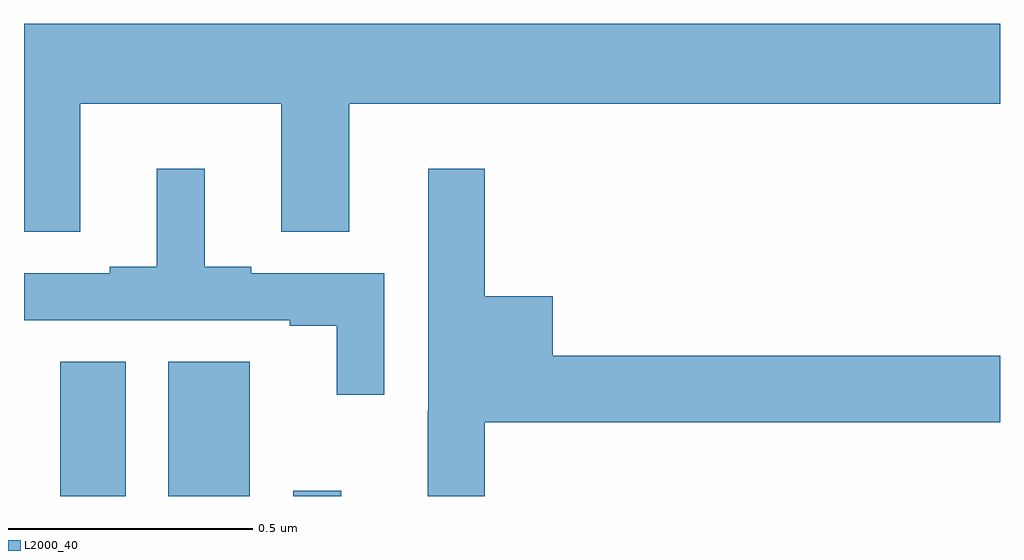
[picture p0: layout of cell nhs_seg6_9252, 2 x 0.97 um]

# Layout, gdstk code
import gdstk
lib = gdstk.Library(unit=1e-6, precision=1e-09)
def R(c, l, rs):  # rectangles x0, y0, x1, y1
    for r in rs: c.add(gdstk.rectangle(r[:2], r[2:], *l))
def P(c, l, *ps):  # polygons
    for p in ps: c.add(gdstk.Polygon(p, *l))
L2000_40 = (2000, 40)

nhs_seg6_9252 = lib.new_cell('nhs_seg6_9252')
R(nhs_seg6_9252, L2000_40, [(231.074,978.5,231.208,978.776), (231.296,978.5,231.463,978.776), (231.552,978.5,231.65,978.511)])
P(nhs_seg6_9252, L2000_40, [(231.115,979.304),(231.527,979.304),(231.527,979.042),(231.667,979.042),(231.667,979.304),(233,979.304),(233,979.468),(231,979.468),(231,979.042),(231.115,979.042)],
  [(231.944,978.652),(233,978.652),(233,978.788),(232.084,978.788),(232.084,978.91),(231.944,978.91),(231.944,979.171),(231.828,979.171),(231.828,978.675),(231.827,978.675),(231.827,978.5),(231.944,978.5)],
  [(231.738,978.957),(231.466,978.957),(231.466,978.97),(231.37,978.97),(231.37,979.171),(231.272,979.171),(231.272,978.97),(231.176,978.97),(231.176,978.957),(231,978.957),(231,978.861),(231.545,978.861),(231.545,978.849),(231.641,978.849),(231.641,978.708),(231.738,978.708)])

lib.write_gds('nhs_seg6_9252.gds')
